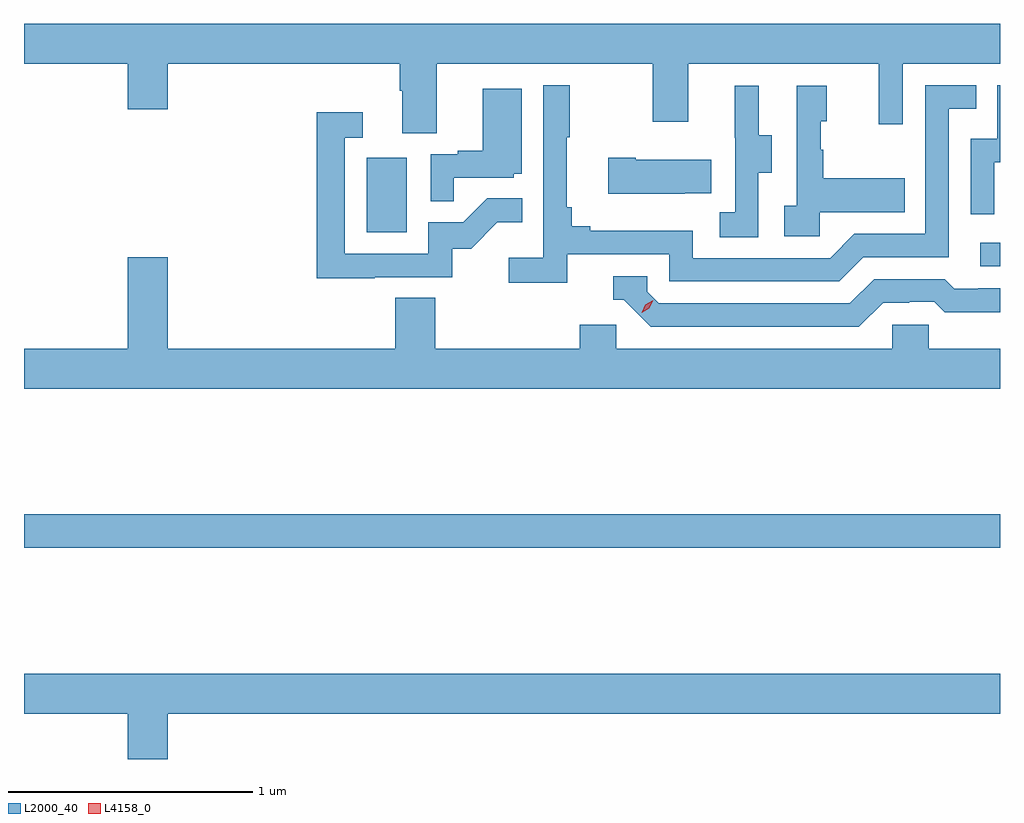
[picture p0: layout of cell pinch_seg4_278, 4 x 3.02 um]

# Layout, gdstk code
import gdstk
lib = gdstk.Library(unit=1e-6, precision=1e-09)
def R(c, l, rs):  # rectangles x0, y0, x1, y1
    for r in rs: c.add(gdstk.rectangle(r[:2], r[2:], *l))
def P(c, l, *ps):  # polygons
    for p in ps: c.add(gdstk.Polygon(p, *l))
L2000_40 = (2000, 40)
L4158_0 = (4158, 0)

pinch_seg4_278 = lib.new_cell('pinch_seg4_278')
R(pinch_seg4_278, L2000_40, [(931.814,806.824,935.814,806.96), (935.733,807.978,935.814,808.074), (933.218,808.116,933.382,808.423)])
P(pinch_seg4_278, L2000_40, [(933.505,808.808),(934.39,808.808),(934.39,808.569),(934.537,808.569),(934.537,808.808),(935.318,808.808),(935.318,808.56),(935.415,808.56),(935.415,808.808),(935.814,808.808),(935.814,808.972),(931.814,808.972),(931.814,808.808),(932.24,808.808),(932.24,808.62),(932.404,808.62),(932.404,808.808),(933.353,808.808),(933.353,808.696),(933.365,808.696),(933.365,808.522),(933.505,808.522)],
  [(934.04,808.026),(934.458,808.026),(934.458,807.915),(935.155,807.915),(935.254,808.014),(935.604,808.014),(935.604,808.623),(935.717,808.623),(935.717,808.719),(935.508,808.719),(935.508,808.11),(935.217,808.11),(935.118,808.011),(934.554,808.011),(934.554,808.123),(934.135,808.123),(934.135,808.142),(934.058,808.142),(934.058,808.219),(934.039,808.219),(934.039,808.507),(934.051,808.507),(934.051,808.72),(933.942,808.72),(933.942,808.012),(933.801,808.012),(933.801,807.91),(934.04,807.91)],
  [(935.79,808.403),(935.814,808.403),(935.814,808.719),(935.802,808.719),(935.802,808.5),(935.694,808.5),(935.694,808.191),(935.79,808.191)],
  [(935.076,808.199),(935.423,808.199),(935.423,808.339),(935.089,808.339),(935.089,808.454),(935.079,808.454),(935.079,808.572),(935.104,808.572),(935.104,808.717),(934.98,808.717),(934.98,808.226),(934.929,808.226),(934.929,808.101),(935.076,808.101)],
  [(934.824,808.36),(934.879,808.36),(934.879,808.515),(934.825,808.515),(934.825,808.717),(934.727,808.717),(934.727,808.503),(934.728,808.503),(934.728,808.199),(934.665,808.199),(934.665,808.096),(934.824,808.096)],
  [(933.575,808.341),(933.822,808.341),(933.822,808.356),(933.853,808.356),(933.853,808.705),(933.695,808.705),(933.695,808.45),(933.591,808.45),(933.591,808.437),(933.48,808.437),(933.48,808.243),(933.575,808.243)],
  [(933.251,807.933),(933.57,807.933),(933.57,808.05),(933.646,808.05),(933.753,808.157),(933.857,808.157),(933.857,808.256),(933.713,808.256),(933.615,808.158),(933.471,808.158),(933.471,808.029),(933.129,808.029),(933.129,808.503),(933.202,808.503),(933.202,808.609),(933.013,808.609),(933.013,807.928),(933.251,807.928)],
  [(934.523,808.277),(934.631,808.277),(934.631,808.414),(934.321,808.414),(934.321,808.422),(934.209,808.422),(934.209,808.274),(934.523,808.274)],
  [(935.814,807.64),(935.523,807.64),(935.523,807.738),(935.373,807.738),(935.373,807.64),(934.242,807.64),(934.242,807.738),(934.091,807.738),(934.091,807.64),(933.5,807.64),(933.5,807.848),(933.335,807.848),(933.335,807.64),(932.404,807.64),(932.404,808.015),(932.24,808.015),(932.24,807.64),(931.814,807.64),(931.814,807.476),(935.814,807.476)],
  [(935.335,807.828),(935.442,807.828),(935.442,807.831),(935.545,807.831),(935.587,807.789),(935.814,807.789),(935.814,807.888),(935.725,807.888),(935.725,807.885),(935.626,807.885),(935.587,807.924),(935.298,807.924),(935.199,807.825),(934.416,807.825),(934.368,807.873),(934.368,807.936),(934.229,807.936),(934.229,807.84),(934.272,807.84),(934.383,807.729),(935.236,807.729)],
  [(932.404,806.144),(935.814,806.144),(935.814,806.308),(931.814,806.308),(931.814,806.144),(932.24,806.144),(932.24,805.956),(932.404,805.956)])
P(pinch_seg4_278, L4158_0, [(934.346,807.786),(934.346,807.786),(934.361,807.819),(934.392,807.839),(934.392,807.839),(934.392,807.839),(934.376,807.806),(934.346,807.786)])

lib.write_gds('pinch_seg4_278.gds')
